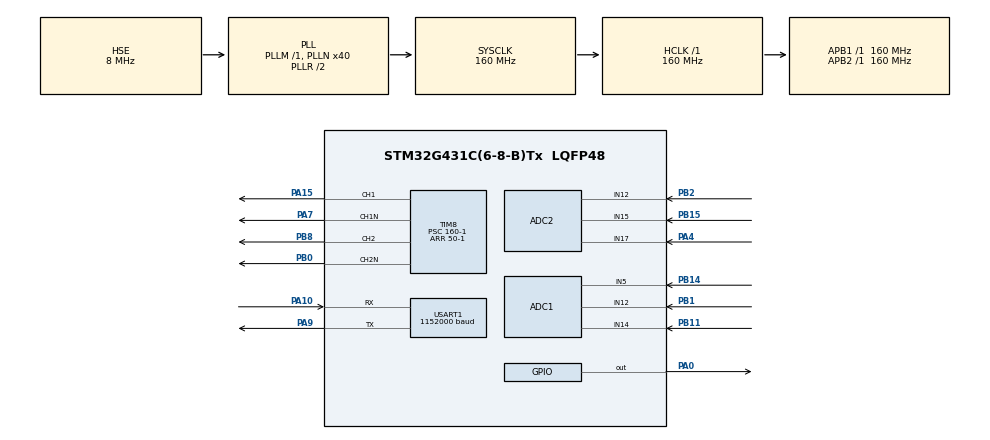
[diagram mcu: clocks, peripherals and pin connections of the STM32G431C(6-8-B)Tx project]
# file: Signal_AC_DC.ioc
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ADC1.Channel-0\#ChannelRegularConversion=ADC_CHANNEL_5
ADC1.Channel-1\#ChannelRegularConversion=ADC_CHANNEL_12
ADC1.Channel-2\#ChannelRegularConversion=ADC_CHANNEL_14
ADC1.ClockPrescaler=ADC_CLOCK_ASYNC_DIV8
ADC1.DMAAccessModeView=ENABLE
ADC1.DMAContinuousRequests=ENABLE
ADC1.EOCSelection=ADC_EOC_SEQ_CONV
ADC1.ExternalTrigConv=ADC_EXTERNALTRIG_T8_TRGO
ADC1.Mode=ADC_DUALMODE_REGSIMULT
ADC1.NbrOfConversion=3
ADC1.NbrOfConversionFlag=1
ADC1.OffsetNumber-0\#ChannelRegularConversion=ADC_OFFSET_NONE
ADC1.OffsetNumber-1\#ChannelRegularConversion=ADC_OFFSET_NONE
ADC1.OffsetNumber-2\#ChannelRegularConversion=ADC_OFFSET_NONE
ADC1.Rank-0\#ChannelRegularConversion=1
ADC1.Rank-1\#ChannelRegularConversion=2
ADC1.Rank-2\#ChannelRegularConversion=3
ADC1.SamplingTime-0\#ChannelRegularConversion=ADC_SAMPLETIME_47CYCLES_5
ADC1.SamplingTime-1\#ChannelRegularConversion=ADC_SAMPLETIME_47CYCLES_5
ADC1.SamplingTime-2\#ChannelRegularConversion=ADC_SAMPLETIME_47CYCLES_5
ADC1.master=1
ADC2.Channel-0\#ChannelRegularConversion=ADC_CHANNEL_15
ADC2.Channel-1\#ChannelRegularConversion=ADC_CHANNEL_17
ADC2.Channel-2\#ChannelRegularConversion=ADC_CHANNEL_12
ADC2.ClockPrescaler=ADC_CLOCK_ASYNC_DIV8
ADC2.DMAAccessModeView=ENABLE
ADC2.EOCSelection=ADC_EOC_SEQ_CONV
ADC2.Mode=ADC_DUALMODE_REGSIMULT
ADC2.NbrOfConversion=3
ADC2.NbrOfConversionFlag=1
ADC2.OffsetNumber-0\#ChannelRegularConversion=ADC_OFFSET_NONE
ADC2.OffsetNumber-1\#ChannelRegularConversion=ADC_OFFSET_NONE
ADC2.OffsetNumber-2\#ChannelRegularConversion=ADC_OFFSET_NONE
ADC2.Rank-0\#ChannelRegularConversion=1
ADC2.Rank-1\#ChannelRegularConversion=2
ADC2.Rank-2\#ChannelRegularConversion=3
ADC2.SamplingTime-0\#ChannelRegularConversion=ADC_SAMPLETIME_47CYCLES_5
ADC2.SamplingTime-1\#ChannelRegularConversion=ADC_SAMPLETIME_47CYCLES_5
ADC2.SamplingTime-2\#ChannelRegularConversion=ADC_SAMPLETIME_47CYCLES_5
Dma.ADC1.0.Direction=DMA_PERIPH_TO_MEMORY
Dma.ADC1.0.EventEnable=DISABLE
Dma.ADC1.0.Instance=DMA1_Channel1
Dma.ADC1.0.MemDataAlignment=DMA_MDATAALIGN_WORD
Dma.ADC1.0.MemInc=DMA_MINC_ENABLE
Dma.ADC1.0.Mode=DMA_CIRCULAR
Dma.ADC1.0.PeriphDataAlignment=DMA_PDATAALIGN_WORD
Dma.ADC1.0.PeriphInc=DMA_PINC_DISABLE
Dma.ADC1.0.Polarity=HAL_DMAMUX_REQ_GEN_RISING
Dma.ADC1.0.Priority=DMA_PRIORITY_VERY_HIGH
Dma.ADC1.0.RequestNumber=1
Dma.ADC1.0.SignalID=NONE
Dma.ADC1.0.SyncEnable=DISABLE
Dma.ADC1.0.SyncPolarity=HAL_DMAMUX_SYNC_NO_EVENT
Dma.ADC1.0.SyncRequestNumber=1
Dma.ADC1.0.SyncSignalID=NONE
Dma.Request0=ADC1
Mcu.Family=STM32G4
Mcu.Name=STM32G431C(6-8-B)Tx
Mcu.Package=LQFP48
NVIC.DMA1_Channel1_IRQn=true\:0\:0\:false\:false\:true\:false\:true\:true
NVIC.PriorityGroup=NVIC_PRIORITYGROUP_4
NVIC.TIM1_UP_TIM16_IRQn=true\:0\:0\:false\:false\:true\:true\:true\:true
PA0.GPIO_Speed=GPIO_SPEED_FREQ_VERY_HIGH
PA0.PinState=GPIO_PIN_RESET
PA0.Signal=GPIO_Output
PA10.GPIO_Speed=GPIO_SPEED_FREQ_HIGH
PA10.Mode=Asynchronous
PA10.Signal=USART1_RX
PA13.Mode=Serial_Wire
PA13.Signal=SYS_JTMS-SWDIO
PA14.Mode=Serial_Wire
PA14.Signal=SYS_JTCK-SWCLK
PA15.GPIO_Speed=GPIO_SPEED_FREQ_MEDIUM
PA15.Signal=S_TIM8_CH1
PA4.GPIO_Mode=GPIO_MODE_ANALOG
PA4.GPIO_Pd=GPIO_PULLDOWN
PA4.Mode=IN17-Single-Ended
PA4.Signal=ADC2_IN17
PA7.GPIO_Speed=GPIO_SPEED_FREQ_MEDIUM
PA7.Mode=PWM Generation1 CH1 CH1N
PA7.Signal=TIM8_CH1N
PA9.GPIO_Speed=GPIO_SPEED_FREQ_HIGH
PA9.Mode=Asynchronous
PA9.Signal=USART1_TX
PB0.GPIO_Speed=GPIO_SPEED_FREQ_MEDIUM
PB0.Mode=PWM Generation2 CH2 CH2N
PB0.Signal=TIM8_CH2N
PB1.GPIO_Mode=GPIO_MODE_ANALOG
PB1.GPIO_Pd=GPIO_PULLDOWN
PB1.Mode=IN12-Single-Ended
PB1.Signal=ADC1_IN12
PB11.GPIO_Mode=GPIO_MODE_ANALOG
PB11.GPIO_Pd=GPIO_PULLDOWN
PB11.Mode=IN14-Single-Ended
PB11.Signal=ADC1_IN14
PB14.GPIO_Mode=GPIO_MODE_ANALOG
PB14.GPIO_Pd=GPIO_PULLDOWN
PB14.Mode=IN5-Single-Ended
PB14.Signal=ADC1_IN5
PB15.GPIO_Mode=GPIO_MODE_ANALOG
PB15.GPIO_Pd=GPIO_PULLDOWN
PB15.Mode=IN15-Single-Ended
PB15.Signal=ADC2_IN15
PB2.GPIO_Mode=GPIO_MODE_ANALOG
PB2.GPIO_Pd=GPIO_PULLDOWN
PB2.Mode=IN12-Single-Ended
PB2.Signal=ADC2_IN12
PB8-BOOT0.GPIO_Speed=GPIO_SPEED_FREQ_MEDIUM
PB8-BOOT0.Signal=S_TIM8_CH2
PF0-OSC_IN.Mode=HSE-External-Oscillator
PF0-OSC_IN.Signal=RCC_OSC_IN
PF1-OSC_OUT.Mode=HSE-External-Oscillator
PF1-OSC_OUT.Signal=RCC_OSC_OUT
ProjectManager.HeapSize=0x200
ProjectManager.StackSize=0x400
ProjectManager.TargetToolchain=CMake
RCC.ADC12Freq_Value=160000000
RCC.AHBFreq_Value=160000000
RCC.APB1Freq_Value=160000000
RCC.APB1TimFreq_Value=160000000
RCC.APB2Freq_Value=160000000
RCC.APB2TimFreq_Value=160000000
RCC.CortexFreq_Value=160000000
RCC.EXTERNAL_CLOCK_VALUE=12288000
RCC.HCLKFreq_Value=160000000
RCC.HSE_VALUE=8000000
RCC.HSI48_VALUE=48000000
RCC.HSI_VALUE=16000000
RCC.LSE_VALUE=32768
RCC.PLLN=40
RCC.PLLSourceVirtual=RCC_PLLSOURCE_HSE
RCC.SYSCLKFreq_VALUE=160000000
RCC.SYSCLKSource=RCC_SYSCLKSOURCE_PLLCLK
RCC.USBFreq_Value=160000000
RCC.VCOOutputFreq_Value=320000000
SH.S_TIM8_CH1.0=TIM8_CH1,PWM Generation1 CH1 CH1N
SH.S_TIM8_CH2.0=TIM8_CH2,PWM Generation2 CH2 CH2N
STMicroelectronics.X-CUBE-ALGOBUILD.1.5.0.LibraryCcDSPOoLibraryJjDSPOoLibrary=true
TIM16.AutoReloadPreload=TIM_AUTORELOAD_PRELOAD_ENABLE
TIM16.Prescaler=160-1
TIM6.PeriodNoDither=100-1
TIM6.Prescaler=32-1
TIM6.TIM_MasterOutputTrigger=TIM_TRGO_UPDATE
TIM8.AutoReloadPreload=TIM_AUTORELOAD_PRELOAD_ENABLE
TIM8.Channel-PWM\ Generation1\ CH1\ CH1N=TIM_CHANNEL_1
TIM8.Channel-PWM\ Generation2\ CH2\ CH2N=TIM_CHANNEL_2
TIM8.Dithering=Disable
TIM8.PeriodNoDither=50-1
TIM8.Prescaler=160-1
TIM8.TIM_MasterOutputTrigger=TIM_TRGO_UPDATE
USART1.BaudRate=1152000
USART1.FIFOMode=FIFOMODE_DISABLE
USART1.Mode=MODE_TX
USART1.OverSampling=UART_OVERSAMPLING_16
USART1.VirtualMode-Asynchronous=VM_ASYNC
VP_STMicroelectronics.X-CUBE-ALGOBUILD_VS_DSPOoLibraryJjLibrary_1.5.0_1.5.0.Mode=DSPOoLibraryJjLibrary
VP_SYS_VS_DBSignals.Mode=DisableDeadBatterySignals
VP_TIM16_VS_ClockSourceINT.Mode=Enable_Timer
VP_TIM6_VS_ClockSourceINT.Mode=Enable_Timer
VP_TIM8_VS_ClockSourceINT.Mode=Internal
board=custom

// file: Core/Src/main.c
/* USER CODE BEGIN Header */
/**
  ******************************************************************************
  * @file           : main.c
  * @brief          : Main program body
  ******************************************************************************
  * @attention
  *
  * Copyright (c) 2026 STMicroelectronics.
  * All rights reserved.
  *
  * This software is licensed under terms that can be found in the LICENSE file
  * in the root directory of this software component.
  * If no LICENSE file comes with this software, it is provided AS-IS.
  *
  ******************************************************************************
  */
/* USER CODE END Header */
#include "main.h"
#include "adc.h"
#include "dma.h"
#include "tim.h"
#include "usart.h"
#include "gpio.h"

/* USER CODE BEGIN Includes */
#include "SOGI.h"
#include "arm_math.h"
#include "stdio.h"
#include "pfc_spwm.h"
#include "qpr.h"
#include "pid.h"
#include <stdbool.h>//使用bool类型变量

/* USER CODE END Includes */

/* USER CODE BEGIN PTD */
/*私有类型定义*/
//锁相环内部用了归一化，无需在意外部电压幅值
//单相整流锁相环结构体
SinglePhasePLL_t PLL_rectify = {
    .theta = 0.0f,         /* 锁相角，rad */
    .omega = 2.0f * PI * 50.0f, /* 锁相角频率，rad/s */
    .omega_nominal = 2.0f * PI * 50.0f, /* 额定角频率，rad/s */
    .alpha = 0.0f,                      /* SOGI alpha分量 */
    .beta = 0.0f,                       /* SOGI beta分量 */
    .vin_last = 0.0f,                   /* 上一次输入电压值 */
    .integrator = 0.0f,                 /* PID积分器初始值 */
    .amplitude = 0.0f,                  /* 电压幅值初始值 */
    .vq = 0.0f,                         /* q轴分量初始值 */
    .vq_normalized = 0.0f,              /* q轴归一化分量初始值 */
    .voltage_valid = false ,             /* 电压有效标志初始为false */

    //实际需要修改的参数
    .kp = 1.184f,                       /* PID比例增益 */
    .ki = 3.168f,                       /* PID积分增益 */

    .omega_min = 2.0f * PI * 45.0f,     /* 最小角频率，rad/s */
    .omega_max = 2.0f * PI * 55.0f,     /* 最大角频率，rad/s */
    .integrator_max = 30.0f,            /* 积分器最大值 */
    .integrator_min = -30.0f,           /* 积分器最小值 */

    .Ts = 0.00005f,                     /*实际调用时间 20k*/
    .sogi_k = 1.4142f,                  /* SOGI增益系数，理论最佳阻尼比为squrt(2) */
    .voltage_min = 0.5f,                /* 最小电压阈值，V */
};

PFC_PWM_t pfc_spwm; // PFC_PWM实例结构体
#define PFC_SPWM_duty_min 0.02f
#define PFC_SPWM_duty_max 0.98f
#define PFC_SPWM_Vdc_max 50.0f
#define PFC_SPWM_Vdc_min 0.0f
#define PFC_SPWM_modulation_min -0.96f
#define PFC_SPWM_modulation_max 0.96f

//QPR控制器实例结构体，内环
QPRController qpr_controller={

    //实际需要修改的参数
    .Kp = 0.2f,          // 比例增益
    .Kr = 0.7f,          // 谐振增益
    .omega_c = 2.0f * PI * 5.0f,   // 谐振角频率
    .omega_0 = 2.0f * PI * 50.0f,  // 电网基波角频率

    .T = 0.00005f,       // 内环采样周期,20k

    .output_max = 2.5f,  // 输出上限
    .output_min = -2.5f, // 输出下限

    //无须修改的参数
    .u_prev1 = 0.0f,
    .u_prev2 = 0.0f,
    .y_prev1 = 0.0f,
    .y_prev2 = 0.0f,

    .b0 = 0.0f,
    .b1 = 0.0f,
    .b2 = 0.0f,
    .a1 = 0.0f,
    .a2 = 0.0f,

    .output = 0.0f
};

//PID控制器实例结构体
PID_Controller pid_controller; // PID 控制器实例结构体
#define PID_AC_DC_Kp 0.05f
#define PID_AC_DC_Ki 0.00005f
#define PID_AC_DC_Kd 0.0f
#define PID_AC_DC_maxintegral 0.15f
#define PID_AC_DC_maxoutput 0.15f
#define PID_AC_DC_minooutput 0.0f

/* USER CODE END PTD */

/* USER CODE BEGIN PD */
/*私有宏定义，常量*/
#define ADC_V_SCALE (3.3f / (4095.0f * 0.0355f))//交流电压系数
#define ADC_V_SCALE_DC (3.3f / (4095.0f / 20.0f))//直流电压系数
#define ADC_I_SCALE (3.3f / ((4095.0f) * 7.5f))//交流电流系数
#define ADC_FILTER_LENGTH 5U//五点滑动滤波
#define voltage_reference 2.8f //直流电压参考值

#define PF 1.0f  //功率因数
#define PF_MAX   1.0f //功率因数最大值
#define PF_MIN   0.0f //功率因数最小值

//锁相环理论上不应该输出的最大与最小相角，输出即为异常
#define PLL_rectify_omega_max (2.0f * PI * 53.0f)
#define PLL_rectify_omega_min (2.0f * PI * 47.0f)
#define PLL_rectify_vq_normalized_min 0.01f//锁相环理论上vq不应持续低于某个值

/* USER CODE END PD */

/* USER CODE BEGIN PM */
/*私有函数式宏*/

/* USER CODE END PM */

/* USER CODE BEGIN PV */
/*私有变量*/

//ADC采集电压值
volatile uint32_t adc_buffer[3]; // ADC数据缓存
volatile uint8_t  adc_buffer_num = 3;
volatile float adc_V_value[3]; // ADC转换后的电压值，第一个是偏移电压值，第二个是单相交流电压值，第三个直流母线电压
volatile float adc_I_value[3]; // ADC转换后的电流值，第一个是偏移电流值，第二个是交流测电感电流值,第三个空电流采集

/*仅仅调试与测量相位差时用*/
volatile uint8_t TX_ready = 0; // 串口发送标志位
volatile uint32_t tx_divider = 0U;//串口发送计时

//电平反转用于测量实际相位延迟
/*
volatile uint32_t tog = 0u;
*/

/*用作单相逆变spwm的测试变量*/
/*
float theta_spwm_step = 2*PI*50.0f*0.00002f; //SPWM逆变步长
float theta_spwm = 0.0f;     // SPWM逆变角度
uint8_t spwm_start = 0u;     //SPWM逆变调整时间
float spwm_amplitude = 1.0f; // SPWM逆变测量幅值
*/

/*不用自己调整的参数*/
volatile uint8_t PLL_stable = 0U;          //等待锁相环稳定再进行闭环操作，锁相环稳定标志位
volatile uint32_t PI_outdoor_f = 0u;//PI外环执行频率，达到20更行一次，即以1k频率更新
volatile uint32_t PI_outdoor_time = 0u; //  判断PI外环是否为首次执行
volatile float Pll_angle_step = 0.0f; // 锁相环PFC角度步进
static uint16_t pll_lock_count = 0U;//判断锁相环是否锁定，正常电压时，计数达到4000更新一次，表示0.2s完成锁相
static uint16_t pll_unlock_count = 0U;//判断锁相环是否异常，在异常状态计数达到400更新，表示0.02s锁相环失去稳定
static bool pll_lock_condition = false;

/* USER CODE END PV */

void SystemClock_Config(void);
/* USER CODE BEGIN PFP */
/*私有函数原型*/

/* USER CODE END PFP */

int main(void)
{

  /* USER CODE BEGIN 1 */
  /**
  * @brief  前行计算与初始化
  */
  float x = PF;
  x = fmaxf(PF_MIN, fminf(PF_MAX, x));       /* 功率因数限制至PF_MAX,PF_MIN */
  Pll_angle_step = acosf(x);                 /*最终的值会归一到0到PI*/

  /* QPR与PID初始化*/
  QPRController_Init(&qpr_controller); // 初始化 QPR 控制器
  PID_Init(&pid_controller,  PID_AC_DC_Kp, PID_AC_DC_Ki, PID_AC_DC_Kd, PID_AC_DC_maxintegral, PID_AC_DC_maxoutput, PID_AC_DC_minooutput);
  /* USER CODE END 1 */

  /* MCU Configuration--------------------------------------------------------*/

  /* Reset of all peripherals, Initializes the Flash interface and the Systick. */
  HAL_Init();

  /* Configure the system clock */
  SystemClock_Config();

  /* Initialize all configured peripherals */
  MX_GPIO_Init();
  MX_DMA_Init();
  MX_ADC1_Init();
  MX_TIM6_Init();
  MX_USART1_UART_Init();
  MX_TIM16_Init();
  MX_TIM8_Init();
  MX_ADC2_Init();
  /* USER CODE BEGIN 2 */

  /**
  * @brief  相关外设初始化
  */
  /* adc启动，由TIM8的TRGO事件触发，20k，包括锁相环 */
  HAL_ADCEx_Calibration_Start(&hadc1, ADC_SINGLE_ENDED); // ADC1校准
  HAL_ADCEx_Calibration_Start(&hadc2, ADC_SINGLE_ENDED); // ADC2校准
  HAL_ADC_Start(&hadc2);// 软件启动从ADC2
  HAL_ADCEx_MultiModeStart_DMA(&hadc1, (uint32_t*)adc_buffer, adc_buffer_num);// 多模式DMA启动，启动主ADC1

  /* spwm启动，需要手动更改通道与时钟*/
  PFC_PWM_Init(&pfc_spwm,
                  &htim8,
                  TIM_CHANNEL_1,
                  TIM_CHANNEL_2,
                  PFC_SPWM_duty_min, PFC_SPWM_duty_max,
                  PFC_SPWM_Vdc_min, PFC_SPWM_Vdc_max,
                  PFC_SPWM_modulation_min, PFC_SPWM_modulation_max);

  if(!PFC_SPWM_Start(&pfc_spwm))
  {
     Error_Handler(); // 调用错误处理函数
  }

  /* USER CODE END 2 */

  /* Infinite loop */
  while (1)
  {

    /* USER CODE BEGIN 3 */
    #if 0/*----------主函数锁相环检测串口调试的开始，更改变量既可以看----------*/
    float omega;
    float omega2;

    if (TX_ready)
      {
        /* vofa上位机，串口两参量回调打印*/
          __disable_irq();//关中断
          omega = PLL_rectify.theta;
          omega2 = adc_V_value[1];
          TX_ready = 0;// 清除串口发送标志位
          __enable_irq();//开中断

          float abs_omega = fabsf(omega);
          float abs_omega2 = fabsf(omega2);

          uint32_t omega_integer = (uint32_t)abs_omega;
          uint32_t omega_decimal =
              (uint32_t)((abs_omega - (float)omega_integer) * 10000.0f);

          uint32_t omega2_integer = (uint32_t)abs_omega2;
          uint32_t omega2_decimal =
              (uint32_t)((abs_omega2 - (float)omega2_integer) * 10000.0f);

          printf("%c%lu.%04lu ,%c%lu.%04lu\r\n",
                (omega < 0.0f) ? '-' : '+',
                (unsigned long)omega_integer,
                (unsigned long)omega_decimal,
                (omega2 < 0.0f) ? '-' : '+',
                (unsigned long)omega2_integer,
                (unsigned long)omega2_decimal);

        /* vofa上位机串口一参量打印*/
        __disable_irq();//关中断
        omega = PLL_rectify.theta;
        TX_ready = 0;// 清除串口发送标志位
        __enable_irq();//开中断

        float abs_omega = fabsf(omega);

        uint32_t omega_integer = (uint32_t)abs_omega;
        uint32_t omega_decimal =
            (uint32_t)((abs_omega - (float)omega_integer) * 10000.0f);

        printf("%c%lu.%04lu \r\n",
               (omega < 0.0f) ? '-' : '+',
               (unsigned long)omega_integer,
               (unsigned long)omega_decimal);

      }
    #endif/*----------主函数锁相环检测串口调试的结束----------*/

    /*主函数串口调试观测直流侧电压*/
    if(TX_ready == 1)
    {
        float omega;

        __disable_irq();//关中断
        omega = adc_V_value[2];
        TX_ready = 0;// 清除串口发送标志位
        __enable_irq();//开中断

        float abs_omega = fabsf(omega);

        uint32_t omega_integer = (uint32_t)abs_omega;
        uint32_t omega_decimal =
            (uint32_t)((abs_omega - (float)omega_integer) * 10000.0f);

        printf("%c%lu.%04lu\r\n",
               (omega < 0.0f) ? '-' : '+',
               (unsigned long)omega_integer,
               (unsigned long)omega_decimal);
    }
  }

  /* USER CODE END 3 */
}

void SystemClock_Config(void)
{
  RCC_OscInitTypeDef RCC_OscInitStruct = {0};
  RCC_ClkInitTypeDef RCC_ClkInitStruct = {0};

  /** Configure the main internal regulator output voltage
  */
  HAL_PWREx_ControlVoltageScaling(PWR_REGULATOR_VOLTAGE_SCALE1_BOOST);

  /** Initializes the RCC Oscillators according to the specified parameters
  * in the RCC_OscInitTypeDef structure.
  */
  RCC_OscInitStruct.OscillatorType = RCC_OSCILLATORTYPE_HSE;
  RCC_OscInitStruct.HSEState = RCC_HSE_ON;
  RCC_OscInitStruct.PLL.PLLState = RCC_PLL_ON;
  RCC_OscInitStruct.PLL.PLLSource = RCC_PLLSOURCE_HSE;
  RCC_OscInitStruct.PLL.PLLM = RCC_PLLM_DIV1;
  RCC_OscInitStruct.PLL.PLLN = 40;
  RCC_OscInitStruct.PLL.PLLP = RCC_PLLP_DIV2;
  RCC_OscInitStruct.PLL.PLLQ = RCC_PLLQ_DIV2;
  RCC_OscInitStruct.PLL.PLLR = RCC_PLLR_DIV2;
  if (HAL_RCC_OscConfig(&RCC_OscInitStruct) != HAL_OK)
  {
    Error_Handler();
  }

  /** Initializes the CPU, AHB and APB buses clocks
  */
  RCC_ClkInitStruct.ClockType = RCC_CLOCKTYPE_HCLK|RCC_CLOCKTYPE_SYSCLK
                              |RCC_CLOCKTYPE_PCLK1|RCC_CLOCKTYPE_PCLK2;
  RCC_ClkInitStruct.SYSCLKSource = RCC_SYSCLKSOURCE_PLLCLK;
  RCC_ClkInitStruct.AHBCLKDivider = RCC_SYSCLK_DIV1;
  RCC_ClkInitStruct.APB1CLKDivider = RCC_HCLK_DIV1;
  RCC_ClkInitStruct.APB2CLKDivider = RCC_HCLK_DIV1;

  if (HAL_RCC_ClockConfig(&RCC_ClkInitStruct, FLASH_LATENCY_4) != HAL_OK)
  {
    Error_Handler();
  }
}

/* USER CODE BEGIN 4 */
// 重定向printf函数到串口
int _write(int file, char *ptr, int len) {
    (void)file; // 避免未使用参数警告

    // 直接发送所有数据
    HAL_UART_Transmit(&huart1, (uint8_t *)ptr, len,1000);
    return len;
}

/*注意十点滑动滤波存在群延迟*/
void HAL_ADC_ConvCpltCallback(ADC_HandleTypeDef* hadc)
{
  //注意打开dma的循环模式，单次转换也需要开启循环模式
 if (hadc->Instance == ADC1)
  {
  /*端口反转，用于测量是否阻塞中断（采用PA0端口）*/
  //HAL_GPIO_TogglePin(GPIOA,GPIO_PIN_0);

  /**
  * @brief  第一部分：电压转换函数，并采用滑动滤波，采用五点滤波
  */
    //储存单相电压
    const uint32_t adc_sample0 = adc_buffer[0];
    const uint32_t adc_sample1 = adc_buffer[1];
    const uint32_t adc_sample2 = adc_buffer[2];

    //adc转换完成，准备处理数据
    adc_V_value[0] = (float)((uint16_t)adc_sample0 & 0xFFFFU) * ADC_V_SCALE; //偏置
    adc_V_value[1] = -((float)((uint16_t)adc_sample1 & 0xFFFFU) * ADC_V_SCALE - adc_V_value[0]);//交流电压
    adc_V_value[2] = (float)((uint16_t)adc_sample2 & 0xFFFFU) * ADC_V_SCALE_DC;//直流母线电压

    adc_I_value[0] = (float)((uint16_t)(adc_sample0>>16) & 0xFFFFU) * ADC_I_SCALE; //偏置电流
    adc_I_value[1] = ((float)((uint16_t)(adc_sample1>>16) & 0xFFFFU) * ADC_I_SCALE - adc_I_value[0]);//交流测电感电流
    adc_I_value[2] = ((float)((uint16_t)(adc_sample2>>16) & 0xFFFFU) * ADC_I_SCALE - adc_I_value[0]);//空电流采集

    //五点滑动均值滤波
    static float adc_V_history[3][ADC_FILTER_LENGTH] = {{0.0f}};
    static float adc_I_history[3][ADC_FILTER_LENGTH] = {{0.0f}};
    static float adc_V_sum[3] = {0.0f};
    static float adc_I_sum[3] = {0.0f};
    static uint8_t filter_index = 0U;
    static uint8_t filter_count = 0U;

    //五点滑动均值滤波
    if (filter_count < ADC_FILTER_LENGTH)
    {
      filter_count++;
    }

     //计算平均系数，避免没有历史数据，而拉低平均值
    const float filter_gain = 1.0f / (float)filter_count;

    for (uint32_t channel = 0U; channel < 3U; channel++)
    {
      //电压进行计算
      //从电压和中移除即将被覆盖的旧历史值
      adc_V_sum[channel] -= adc_V_history[channel][filter_index];
      //存储新的电压采样值，覆盖旧值
      adc_V_history[channel][filter_index] = adc_V_value[channel];
      //将新值重新加回电压和
      adc_V_sum[channel] += adc_V_history[channel][filter_index];

      //滑动平均值的计算
      adc_V_value[channel] = adc_V_sum[channel] * filter_gain;
    }

    for (uint32_t channel = 0U; channel < 3U; channel++)
    {
      //电流进行计算
      //从电流和中移除即将被覆盖的旧历史值
      adc_I_sum[channel] -= adc_I_history[channel][filter_index];
      //存储新的电流采样值，覆盖旧值
      adc_I_history[channel][filter_index] = adc_I_value[channel];
      //将新值重新加回电流和
      adc_I_sum[channel] += adc_I_history[channel][filter_index];

      //滑动平均值的计算
      adc_I_value[channel] = adc_I_sum[channel] * filter_gain;
    }

      filter_index++;
      if (filter_index >= ADC_FILTER_LENGTH)
      {
        filter_index = 0U;
      }

  /**
  * @brief  第二部分：锁相环开始，并判断锁相是否稳定
  */
      //锁相
      SinglePhasePLL_Update(&PLL_rectify, adc_V_value[1]);

      //测量实际相位差，方法通过过零点进行检测
      /*
      if(theta >= -2e-2 && theta <= 2e-2 && tog == 0u)
      {
        HAL_GPIO_TogglePin(GPIOA,GPIO_PIN_0);
        tog = 1u;
      }
      if (theta > 2e-1)
      {
        tog = 0u;
      }
      */

      /*补足公式中的相位以及1.8度群延迟*/
      float theta = PLL_rectify.theta + PI/2 + 0.0314f;
      if(theta > 2*PI)
      {
         theta -= 2.0f * PI;
      }

      pll_lock_condition =PLL_rectify.voltage_valid &&
                          (fabsf(PLL_rectify.vq_normalized) < PLL_rectify_vq_normalized_min) &&
                          (PLL_rectify.omega > PLL_rectify_omega_min) && (PLL_rectify.omega < PLL_rectify_omega_max);

      /* PLL锁定条件判断 */
      /*假设正常电压下锁相环在0.2s后稳定
        不正常电压下0.02s后失锁*/
      if (pll_lock_condition){
         pll_unlock_count = 0U;
         if (pll_lock_count < 4000U){pll_lock_count++;}
         if (pll_lock_count >= 4000U){PLL_stable = 1U;}
        }
      else{
         pll_lock_count = 0U;
         if (pll_unlock_count < 400U){pll_unlock_count++;}
         if (pll_unlock_count >= 400U){PLL_stable = 0U;}
        }

  /**
  * @brief  第三部分：单相逆变测试代码，检测spwm是否正常工作
  */
      /*
      theta_spwm += theta_spwm_step;
      if(theta_spwm > 2*PI)
      {
         theta_spwm -= 2.0f * PI;
      }
      float v_ref = spwm_amplitude * arm_sin_f32(theta_spwm);
      spwm_start++;
      if(spwm_start > 5u)
      {
        PFC_PWM_Update(&pfc_spwm, v_ref, 2);
        spwm_start = 0u;
      }
     */

    /**
    * @brief  第四部分：双闭环操作的开始，进行电压环和电流环的控制
    *         电压环利用PID控制，电流环利用QPR控制，内环20k，外环1k
    */
     if(PLL_stable == 1U)
     {
      PI_outdoor_f++;
      //首次外环
      if(PI_outdoor_time == 0U)
      {
        //第一步：电压环的PID控制
        PID_Calc(&pid_controller, voltage_reference, adc_V_value[2]);
        PI_outdoor_time = 1u;
      }

      /*周期性外环控制*/
      if(PI_outdoor_f >= 20u && PI_outdoor_time == 1u)
      {
        PI_outdoor_f = 0u;
      //第一步：电压环的PID控制
        PID_Calc(&pid_controller, voltage_reference, adc_V_value[2]);
      }
      //第二步：并行进行角度控制，PFC矫正
      float angle = Pll_angle_step + theta;
      if(angle > 2*PI)
      {
        angle -= 2.0f * PI;
      }
      //第三步：目标电流的生成
      float I_target = arm_sin_f32(angle) * pid_controller.output;
      //第四步：差值进行QPR控制
      float I_error = I_target - adc_I_value[1];
      QPRController_Update(&qpr_controller, I_error);
      //第五步：根据PR控制器的输出更新SPWM
      float v_ref = qpr_controller.output;
      if(PFC_PWM_Update(&pfc_spwm, v_ref, adc_V_value[2]) != true)
       {if(PFC_SPWM_Stop(&pfc_spwm) != true)
        {
          Error_Handler();//硬件中断
        }
       };
     }
     //锁相环失控，断掉所有的spwm
     else{
        if(PFC_SPWM_Stop(&pfc_spwm) != true)
        {
          Error_Handler();//硬件中断
        }

     }

    /**
    * @brief  第五部分：串口发送调试，设置发送标志位
    *         每1000次循环设置一次发送标志位，即0.05s发送一次
    */
      tx_divider++;
      if(tx_divider >= 1000U)
      {
          tx_divider = 0U;
          TX_ready = 1; // 设置串口发送标志位，表示可以发送数据
      }
  }
}

/* USER CODE END 4 */

void Error_Handler(void)
{
  __disable_irq();
  while (1)
  {
  }
}
